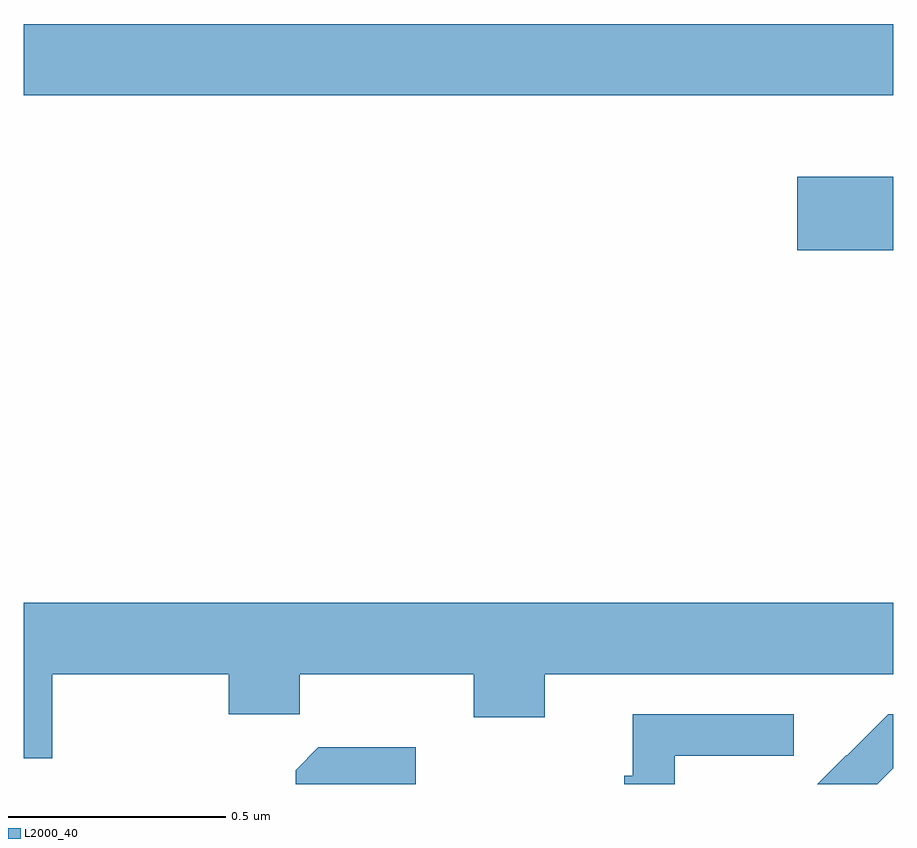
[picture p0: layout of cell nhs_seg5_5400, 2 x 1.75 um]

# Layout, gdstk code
import gdstk
lib = gdstk.Library(unit=1e-6, precision=1e-09)
def R(c, l, rs):  # rectangles x0, y0, x1, y1
    for r in rs: c.add(gdstk.rectangle(r[:2], r[2:], *l))
def P(c, l, *ps):  # polygons
    for p in ps: c.add(gdstk.Polygon(p, *l))
L2000_40 = (2000, 40)

nhs_seg5_5400 = lib.new_cell('nhs_seg5_5400')
R(nhs_seg5_5400, L2000_40, [(183.78,899.027,184,899.197), (182,899.384,184,899.548)])
P(nhs_seg5_5400, L2000_40, [(182.065,898.052),(182.471,898.052),(182.471,897.959),(182.635,897.959),(182.635,898.052),(183.035,898.052),(183.035,897.953),(183.199,897.953),(183.199,898.052),(184,898.052),(184,898.216),(182,898.216),(182,897.858),(182.065,897.858)],
  [(184,897.835),(184,897.96),(183.989,897.96),(183.893,897.864),(183.892,897.865),(183.826,897.799),(183.964,897.799)],
  [(183.498,897.864),(183.771,897.864),(183.771,897.96),(183.401,897.96),(183.401,897.818),(183.382,897.818),(183.382,897.799),(183.498,897.799)],
  [(182.902,897.883),(182.677,897.883),(182.625,897.831),(182.625,897.799),(182.902,897.799)])

lib.write_gds('nhs_seg5_5400.gds')
